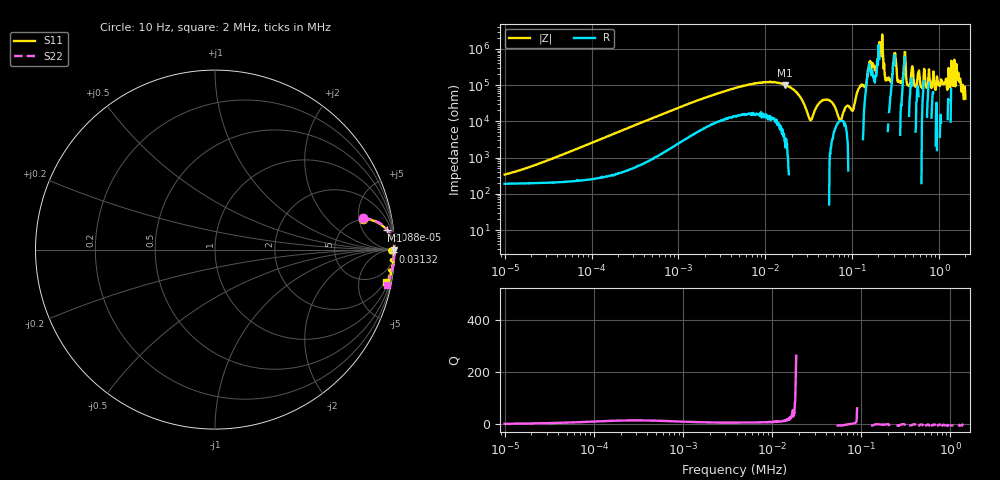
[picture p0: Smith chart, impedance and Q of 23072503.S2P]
!Agilent Technologies,E5061B,MY49204007,A.02.12
!Date: Wed Jul 23 10:50:32 2025
!Data & Calibration Information:
!Freq	S11:SOLT2(ON)	S21:SOLT2(ON)	S12:SOLT2(ON)	S22:SOLT2(ON)
# Hz S dB R 50
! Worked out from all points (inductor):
!   1040 points, 10 Hz to 2 MHz, reference 50 ohm
!   read as one part in series: L = 4.14 H near 22.75 Hz
!   highest Q = 29.5 at 16.86 kHz (marker M1), where L = 962 mH
!   self-resonance near 33.02 kHz
!   S11 on the Smith chart (normalised r, x): 10 Hz: 4.82, +5.63; 30.88 Hz: 5, +16; 31.32 kHz: open; 2 MHz: 2, -10
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10  -1.51 11.8  -12.13 -44.2  -12.12 -44.2  -1.50 12.0
30.884  -0.32 6.5  -18.65 -69.3  -18.65 -69.2  -0.30 6.7
77.209  -0.07 2.9  -25.98 -80.3  -25.98 -80.2  -0.05 3.0
588.818  -0.01 0.4  -43.17 -85.1  -43.18 -84.9  0.00 0.6
4498.482  -0.01 0.0  -58.40 -80.2  -58.42 -80.1  0.01 0.2
16859.24  -0.00 -0.2  -60.16 -88.5  -60.32 -87.6  0.01 0.0
31315.92  -0.09 -0.7  -42.91 -142.0  -42.95 -141.6  -0.02 -0.2
34305.13  -0.11 0.1  -41.63 149.9  -41.67 149.7  -0.03 0.1
48227.32  -0.01 -0.4  -51.99 95.7  -52.06 96.0  0.01 -0.1
71897.79  -0.25 -0.7  -40.57 14.1  -40.59 14.0  -0.02 -0.3
99964.22  -0.10 -0.4  -45.86 -151.5  -45.85 -151.8  -0.01 -0.4
140282.4  -0.02 -0.5  -59.16 59.1  -58.71 60.6  -0.01 -0.7
158692.4  -0.01 -0.6  -71.76 38.6  -70.43 41.1  -0.00 -0.7
186279.1  -0.02 -0.9  -69.19 50.5  -69.95 56.3  -0.01 -0.9
209621.8  -0.00 -1.0  -77.16 84.4  -87.05 92.8  -0.01 -1.0
261946.5  -0.01 -1.4  -64.31 90.4  -62.98 86.1  -0.01 -1.3
306858.3  -0.01 -1.6  -76.61 54.0  -77.69 48.9  -0.01 -1.5
355448.7  -0.02 -1.9  -61.84 86.1  -61.68 84.0  -0.01 -1.8
395940.8  -0.03 -2.1  -71.78 26.2  -71.68 34.2  -0.01 -2.0
533404.2  -0.02 -2.9  -59.25 83.9  -59.41 85.4  -0.01 -2.8
1574823  -0.16 -8.6  -71.93 126.0  -73.52 123.9  -0.11 -9.2
2000000  -0.27 -10.8  -52.90 -125.7  -53.25 -126.5  -0.20 -11.7
